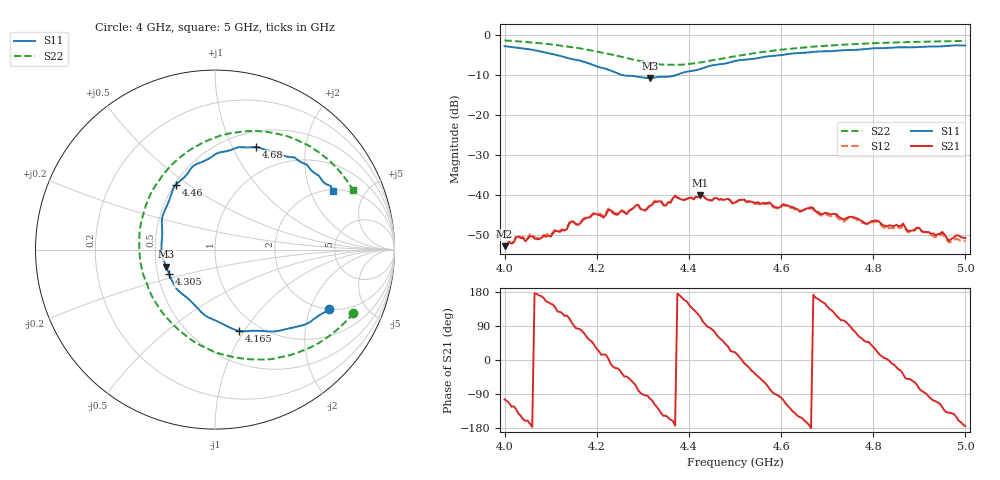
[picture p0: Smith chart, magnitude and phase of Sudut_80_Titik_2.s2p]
# Hz S RI R 50
! CMT, C1220, 16058040, 17.2.0/1
! Date: 15/08/2018 11:40:42
! Data: Format (Calibration Info)
! Freq  S11: Re/Im (F2)  S21: Re/Im (F2)  S12: Re/Im (F2)  S22: Re/Im (F2)
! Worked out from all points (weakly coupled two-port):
!   201 points, 4 GHz to 5 GHz, reference 50 ohm
!   highest |S21| = -39.98 dB at 4.425 GHz (marker M1); lowest = -52.8 dB at 4 GHz (marker M2)
!   lowest |S11| = -10.8 dB at 4.315 GHz (marker M3), VSWR 1.81, Z = 28.2 - j5.86 ohm
!   |S11| at or under -10 dB: 4.253 GHz to 4.374 GHz (121.1 MHz wide, 2.81 % of centre)
!   |S22| runs from -7.5 to -1.4 dB; largest |S21 - S12| = 0.00036
!   S11 on the Smith chart (normalised r, x): 4 GHz: 2.00, -2.75; 4.165 GHz: 0.81, -0.95; 4.305 GHz: 0.57, -0.17; 4.46 GHz: 0.51, +0.45; 4.68 GHz: 0.67, +1.24; 5 GHz: 2.03, +2.90
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4e9  0.6375 -0.3322  -0.000553 -0.00223  -0.000454 -0.00229  0.7699 -0.3537
4.025e9  0.5844 -0.3637  -0.00191 -0.00228  -0.00186 -0.00243  0.7222 -0.4074
4.1e9  0.3644 -0.4508  -0.00258 0.00158  -0.00274 0.00164  0.5231 -0.5486
4.145e9  0.2074 -0.4519  -0.000823 0.00463  -0.000942 0.00476  0.3597 -0.6004
4.165e9  0.1329 -0.4528  0.000767 0.00443  0.000709 0.00446  0.28 -0.6122
4.17e9  0.1166 -0.4482  0.00138 0.0047  0.0013 0.00484  0.2593 -0.6125
4.215e9  -0.0327 -0.3802  0.00505 0.00134  0.00522 0.00144  0.062 -0.5891
4.225e9  -0.0623 -0.3615  0.0065 0.000421  0.00673 0.000503  0.0169 -0.5773
4.265e9  -0.1736 -0.2544  0.00416 -0.004  0.00417 -0.00417  -0.1523 -0.4875
4.29e9  -0.2332 -0.1857  0.00127 -0.00741  0.00124 -0.00742  -0.2465 -0.4035
4.305e9  -0.2567 -0.1346  -0.000348 -0.00636  -0.000342 -0.00645  -0.2945 -0.3491
4.315e9  -0.2717 -0.0954  -0.00142 -0.00719  -0.0014 -0.00736  -0.3233 -0.3065
4.335e9  -0.2963 -0.0277  -0.00557 -0.00625  -0.00571 -0.00626  -0.3706 -0.215
4.425e9  -0.256 0.2717  -0.0039 0.00923  -0.00375 0.00919  -0.393 0.2205
4.46e9  -0.2182 0.3617  0.00366 0.00841  0.00382 0.00834  -0.3269 0.3637
4.5e9  -0.1346 0.4502  0.00755 0.0028  0.00752 0.0027  -0.2231 0.489
4.67e9  0.2143 0.5709  -0.00682 0.000972  -0.00651 0.00109  0.2621 0.6576
4.68e9  0.2292 0.5719  -0.00587 0.00198  -0.00561 0.00193  0.2868 0.6562
4.835e9  0.4833 0.4852  0.00419 -0.000175  0.00389 -0.000177  0.5887 0.5346
4.95e9  0.6141 0.3677  -0.00199 -0.00284  -0.00195 -0.00268  0.7249 0.3976
4.965e9  0.6355 0.3582  -0.00202 -0.00177  -0.00196 -0.00164  0.7381 0.3804
5e9  0.6559 0.3292  -0.00291 -0.000261  -0.00268 -0.000349  0.7675 0.3346
